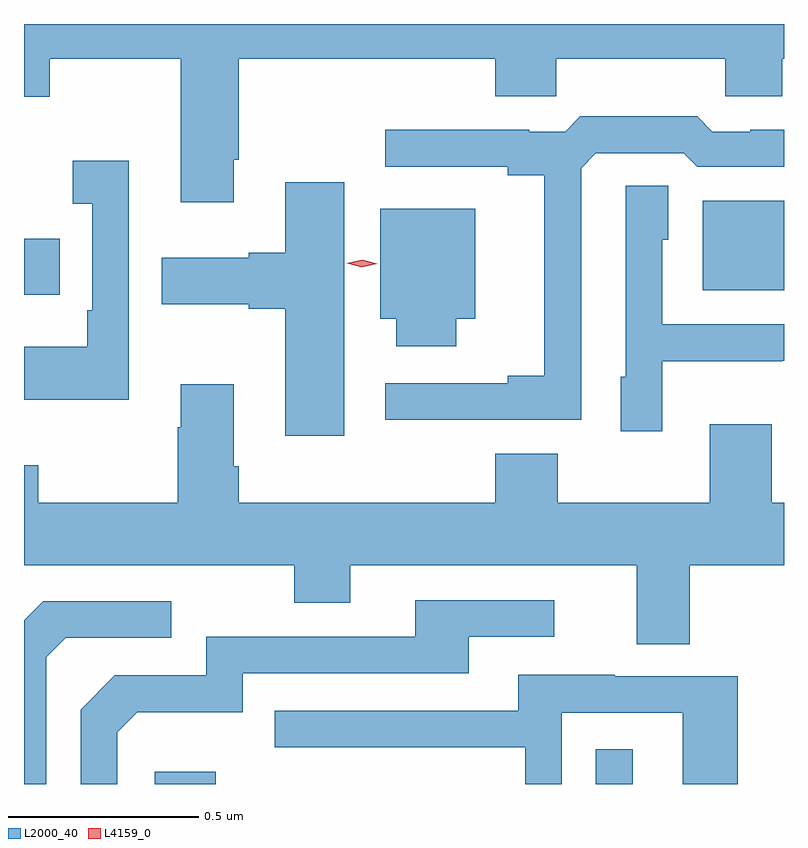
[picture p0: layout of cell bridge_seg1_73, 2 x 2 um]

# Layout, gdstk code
import gdstk
lib = gdstk.Library(unit=1e-6, precision=1e-09)
def R(c, l, rs):  # rectangles x0, y0, x1, y1
    for r in rs: c.add(gdstk.rectangle(r[:2], r[2:], *l))
def P(c, l, *ps):  # polygons
    for p in ps: c.add(gdstk.Polygon(p, *l))
L2000_40 = (2000, 40)
L4159_0 = (4159, 0)

bridge_seg1_73 = lib.new_cell('bridge_seg1_73')
R(bridge_seg1_73, L2000_40, [(616.533,525.848,616.694,525.88), (617.694,525.848,617.791,525.94), (616.189,527.135,616.283,527.283), (617.975,527.147,618.189,527.383)])
P(bridge_seg1_73, L2000_40, [(616.741,527.491),(616.754,527.491),(616.754,527.756),(617.429,527.756),(617.429,527.658),(617.589,527.658),(617.589,527.756),(618.034,527.756),(618.034,527.658),(618.184,527.658),(618.184,527.756),(618.189,527.756),(618.189,527.848),(616.189,527.848),(616.189,527.657),(616.257,527.657),(616.257,527.756),(616.601,527.756),(616.601,527.379),(616.741,527.379)],
  [(617.655,527.469),(617.694,527.508),(617.925,527.508),(617.961,527.472),(618.189,527.472),(618.189,527.57),(618.1,527.57),(618.1,527.565),(618,527.565),(617.961,527.605),(617.653,527.605),(617.613,527.565),(617.519,527.565),(617.519,527.57),(617.139,527.57),(617.139,527.472),(617.462,527.472),(617.462,527.45),(617.558,527.45),(617.558,526.922),(617.462,526.922),(617.462,526.902),(617.139,526.902),(617.139,526.806),(617.655,526.806)],
  [(616.464,527.488),(616.317,527.488),(616.317,527.375),(616.368,527.375),(616.368,527.095),(616.356,527.095),(616.356,526.999),(616.189,526.999),(616.189,526.859),(616.464,526.859)],
  [(617.032,527.431),(616.877,527.431),(616.877,527.246),(616.781,527.246),(616.781,527.233),(616.551,527.233),(616.551,527.111),(616.781,527.111),(616.781,527.099),(616.877,527.099),(616.877,526.764),(617.032,526.764)],
  [(617.868,526.961),(618.185,526.961),(618.185,526.962),(618.189,526.962),(618.189,527.058),(617.868,527.058),(617.868,527.28),(617.884,527.28),(617.884,527.423),(617.772,527.423),(617.772,526.92),(617.759,526.92),(617.759,526.776),(617.868,526.776)],
  [(617.326,527.072),(617.377,527.072),(617.377,527.362),(617.126,527.362),(617.126,527.072),(617.168,527.072),(617.168,527),(617.326,527)],
  [(617.941,526.424),(618.189,526.424),(618.189,526.588),(618.157,526.588),(618.157,526.795),(617.993,526.795),(617.993,526.588),(617.593,526.588),(617.593,526.717),(617.429,526.717),(617.429,526.588),(616.754,526.588),(616.754,526.684),(616.741,526.684),(616.741,526.9),(616.601,526.9),(616.601,526.787),(616.594,526.787),(616.594,526.588),(616.227,526.588),(616.227,526.687),(616.189,526.687),(616.189,526.424),(616.9,526.424),(616.9,526.325),(617.047,526.325),(617.047,526.424),(617.801,526.424),(617.801,526.216),(617.941,526.216)],
  [(616.434,525.984),(616.487,526.037),(616.764,526.037),(616.764,526.14),(617.359,526.14),(617.359,526.236),(617.584,526.236),(617.584,526.332),(617.219,526.332),(617.219,526.236),(616.668,526.236),(616.668,526.134),(616.428,526.134),(616.338,526.044),(616.338,525.848),(616.434,525.848)],
  [(616.248,526.182),(616.299,526.233),(616.576,526.233),(616.576,526.329),(616.239,526.329),(616.189,526.279),(616.189,525.848),(616.248,525.848)],
  [(617.604,526.035),(617.922,526.035),(617.922,525.848),(618.067,525.848),(618.067,526.131),(617.743,526.131),(617.743,526.135),(617.489,526.135),(617.489,526.041),(616.849,526.041),(616.849,525.945),(617.508,525.945),(617.508,525.848),(617.604,525.848)])
P(bridge_seg1_73, L4159_0, [(617.078,527.208),(617.038,527.218),(617.038,527.218),(617.038,527.218),(617.079,527.228),(617.119,527.217),(617.119,527.217),(617.119,527.217)])

lib.write_gds('bridge_seg1_73.gds')
